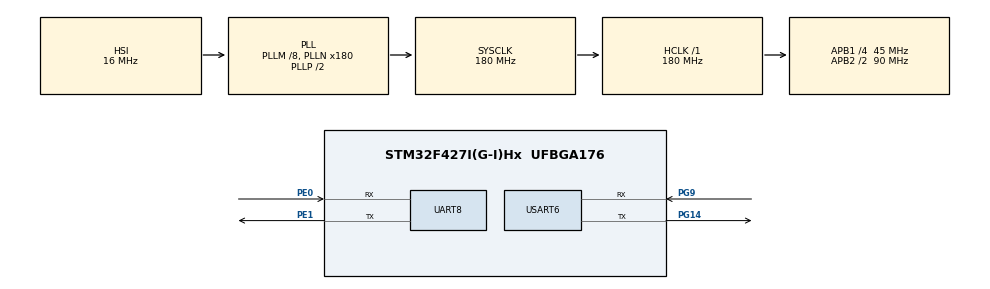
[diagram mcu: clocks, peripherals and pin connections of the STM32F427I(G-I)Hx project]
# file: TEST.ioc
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Dma.Request0=USART6_TX
Dma.USART6_TX.0.Direction=DMA_MEMORY_TO_PERIPH
Dma.USART6_TX.0.FIFOMode=DMA_FIFOMODE_ENABLE
Dma.USART6_TX.0.FIFOThreshold=DMA_FIFO_THRESHOLD_FULL
Dma.USART6_TX.0.Instance=DMA2_Stream6
Dma.USART6_TX.0.MemBurst=DMA_MBURST_SINGLE
Dma.USART6_TX.0.MemDataAlignment=DMA_MDATAALIGN_HALFWORD
Dma.USART6_TX.0.MemInc=DMA_MINC_ENABLE
Dma.USART6_TX.0.Mode=DMA_NORMAL
Dma.USART6_TX.0.PeriphBurst=DMA_PBURST_SINGLE
Dma.USART6_TX.0.PeriphDataAlignment=DMA_PDATAALIGN_BYTE
Dma.USART6_TX.0.PeriphInc=DMA_PINC_DISABLE
Dma.USART6_TX.0.Priority=DMA_PRIORITY_LOW
Mcu.Family=STM32F4
Mcu.Name=STM32F427I(G-I)Hx
Mcu.Package=UFBGA176
NVIC.DMA2_Stream6_IRQn=true\:0\:0\:true\:false\:true\:false\:true\:true
NVIC.PriorityGroup=NVIC_PRIORITYGROUP_4
NVIC.UART8_IRQn=true\:1\:0\:true\:false\:true\:true\:true\:true
NVIC.USART6_IRQn=true\:0\:0\:false\:false\:true\:true\:true\:true
PA13.Mode=Serial_Wire
PA13.Signal=SYS_JTMS-SWDIO
PA14.Mode=Serial_Wire
PA14.Signal=SYS_JTCK-SWCLK
PE0.Mode=Asynchronous
PE0.Signal=UART8_RX
PE1.Mode=Asynchronous
PE1.Signal=UART8_TX
PG14.Mode=Asynchronous
PG14.Signal=USART6_TX
PG9.Mode=Asynchronous
PG9.Signal=USART6_RX
PH0/OSC_IN.Mode=HSE-External-Oscillator
PH0/OSC_IN.Signal=RCC_OSC_IN
PH1/OSC_OUT.Mode=HSE-External-Oscillator
PH1/OSC_OUT.Signal=RCC_OSC_OUT
ProjectManager.HeapSize=0x200
ProjectManager.StackSize=0x400
ProjectManager.TargetToolchain=MDK-ARM V5.32
RCC.48MHZClocksFreq_Value=90000000
RCC.AHBFreq_Value=180000000
RCC.APB1CLKDivider=RCC_HCLK_DIV4
RCC.APB1Freq_Value=45000000
RCC.APB1TimFreq_Value=90000000
RCC.APB2CLKDivider=RCC_HCLK_DIV2
RCC.APB2Freq_Value=90000000
RCC.APB2TimFreq_Value=180000000
RCC.CortexFreq_Value=180000000
RCC.HCLKFreq_Value=180000000
RCC.HSE_VALUE=25000000
RCC.HSI_VALUE=16000000
RCC.LSE_VALUE=32768
RCC.PLLM=8
RCC.PLLN=180
RCC.SYSCLKFreq_VALUE=180000000
RCC.SYSCLKSource=RCC_SYSCLKSOURCE_PLLCLK
RCC.VCOOutputFreq_Value=360000000
UART8.VirtualMode=Asynchronous
USART6.VirtualMode=VM_ASYNC
board=custom

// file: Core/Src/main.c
/* USER CODE BEGIN Header */
/**
  ******************************************************************************
  * @file           : main.c
  * @brief          : Main program body
  ******************************************************************************
  * @attention
  *
  * Copyright (c) 2025 STMicroelectronics.
  * All rights reserved.
  *
  * This software is licensed under terms that can be found in the LICENSE file
  * in the root directory of this software component.
  * If no LICENSE file comes with this software, it is provided AS-IS.
  *
  ******************************************************************************
  */
/* USER CODE END Header */
#include "main.h"
#include "dma.h"
#include "usart.h"
#include "gpio.h"

/* USER CODE BEGIN Includes */
#include "read.h"
#include "send.h"
/* USER CODE END Includes */

void SystemClock_Config(void);

/* USER CODE BEGIN 0 */
 int16_t angle[4];
/* USER CODE END 0 */

int main(void)
{

  /* MCU Configuration--------------------------------------------------------*/

  /* Reset of all peripherals, Initializes the Flash interface and the Systick. */
  HAL_Init();

  /* Configure the system clock */
  SystemClock_Config();

  /* Initialize all configured peripherals */
  MX_GPIO_Init();
  MX_DMA_Init();
  MX_UART8_Init();
  MX_USART6_UART_Init();
  /* USER CODE BEGIN 2 */
  HAL_Delay(5000);
	 servo_init();
	  HAL_UART_Receive_IT(&huart8, (uint8_t *)uart_rx_buf, 1);
  /* USER CODE END 2 */

  /* Infinite loop */
  /* USER CODE BEGIN WHILE */
  while (1)
  {
	request_angle_id(0);
	  HAL_Delay(10);
	request_angle_id(1);
	  HAL_Delay(10);
	request_angle_id(2);
	  HAL_Delay(10);
	request_angle_id(3);
	  HAL_Delay(10);
    /* USER CODE END WHILE */

    /* USER CODE BEGIN 3 */
	  if (uart_rx_flag)
        {
            parse_angle();

			for(uint8_t i=0; i<MAX_SERVO_NUM; i++) {
                get_servo_angle(i, &angle[i]);
			}
			memset((void *)uart_rx_buf, 0, RX_BUF_SIZE);
		HAL_UART_Receive_IT(&huart8, &uart_rx_buf[rx_index], 1);
        }
      Send_Servo_Angles(angle);
//		HAL_Delay(50);
  }
  /* USER CODE END 3 */
}

void SystemClock_Config(void)
{
  RCC_OscInitTypeDef RCC_OscInitStruct = {0};
  RCC_ClkInitTypeDef RCC_ClkInitStruct = {0};

  /** Configure the main internal regulator output voltage
  */
  __HAL_RCC_PWR_CLK_ENABLE();
  __HAL_PWR_VOLTAGESCALING_CONFIG(PWR_REGULATOR_VOLTAGE_SCALE1);

  /** Initializes the RCC Oscillators according to the specified parameters
  * in the RCC_OscInitTypeDef structure.
  */
  RCC_OscInitStruct.OscillatorType = RCC_OSCILLATORTYPE_HSI;
  RCC_OscInitStruct.HSIState = RCC_HSI_ON;
  RCC_OscInitStruct.HSICalibrationValue = RCC_HSICALIBRATION_DEFAULT;
  RCC_OscInitStruct.PLL.PLLState = RCC_PLL_ON;
  RCC_OscInitStruct.PLL.PLLSource = RCC_PLLSOURCE_HSI;
  RCC_OscInitStruct.PLL.PLLM = 8;
  RCC_OscInitStruct.PLL.PLLN = 180;
  RCC_OscInitStruct.PLL.PLLP = RCC_PLLP_DIV2;
  RCC_OscInitStruct.PLL.PLLQ = 4;
  if (HAL_RCC_OscConfig(&RCC_OscInitStruct) != HAL_OK)
  {
    Error_Handler();
  }

  /** Activate the Over-Drive mode
  */
  if (HAL_PWREx_EnableOverDrive() != HAL_OK)
  {
    Error_Handler();
  }

  /** Initializes the CPU, AHB and APB buses clocks
  */
  RCC_ClkInitStruct.ClockType = RCC_CLOCKTYPE_HCLK|RCC_CLOCKTYPE_SYSCLK
                              |RCC_CLOCKTYPE_PCLK1|RCC_CLOCKTYPE_PCLK2;
  RCC_ClkInitStruct.SYSCLKSource = RCC_SYSCLKSOURCE_PLLCLK;
  RCC_ClkInitStruct.AHBCLKDivider = RCC_SYSCLK_DIV1;
  RCC_ClkInitStruct.APB1CLKDivider = RCC_HCLK_DIV4;
  RCC_ClkInitStruct.APB2CLKDivider = RCC_HCLK_DIV2;

  if (HAL_RCC_ClockConfig(&RCC_ClkInitStruct, FLASH_LATENCY_5) != HAL_OK)
  {
    Error_Handler();
  }
}

void Error_Handler(void)
{
  __disable_irq();
  while (1)
  {
  }
}
